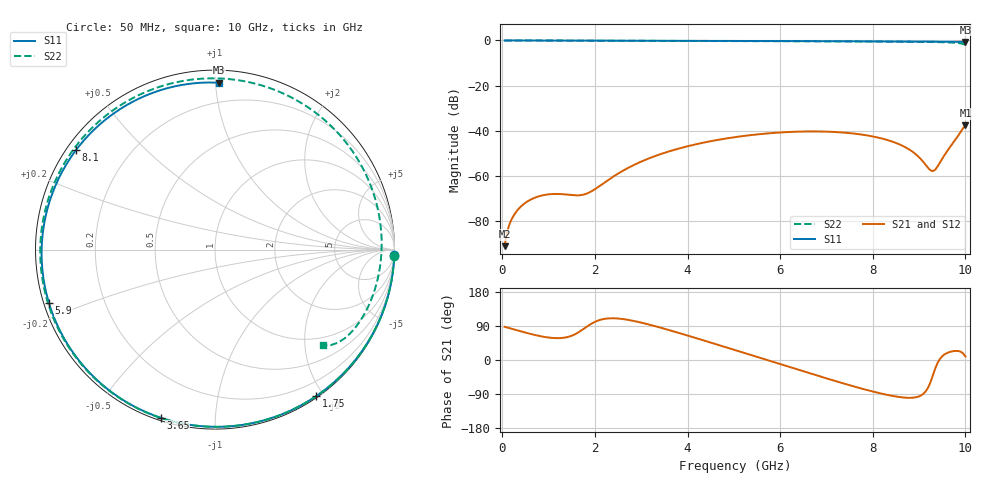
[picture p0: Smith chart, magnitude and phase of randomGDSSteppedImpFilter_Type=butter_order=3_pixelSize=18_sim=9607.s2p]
! freq	dB(S11)	phase(S11)	dB(S12)	phase(S12)
!  dB(S21)	phase(S21)	dB(S22)	phase(S22)
!S-par simulation data
#  GHz  S  DB  R 50
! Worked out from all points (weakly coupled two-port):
!   200 points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, 50 MHz to 10 GHz, reference 50 ohm
!   highest |S21| = -37.55 dB at 10 GHz (marker M1); lowest = -91.2 dB at 50 MHz (marker M2)
!   lowest |S11| = -0.6 dB at 10 GHz (marker M3), VSWR 27.66, Z = 3.7 + j51.1 ohm
!   |S11| at or under -10 dB: nowhere
!   |S22| runs from -1.9 to 0.0 dB; largest |S21 - S12| = 0
!   S11 on the Smith chart (normalised r, x): 50 MHz: 1, -69; 1.75 GHz: 0.02, -1.91; 3.65 GHz: 0.01, -0.73; 5.9 GHz: 0.01, -0.16; 8.1 GHz: 0.03, +0.32; 10 GHz: 0.07, +1.02
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0.05  -0.00 -1.7  -91.17 87.6  -91.17 87.6  -0.00 -2.2
0.2  -0.01 -6.5  -79.31 82.5  -79.31 82.5  -0.01 -8.6
0.4  -0.01 -13.0  -73.63 75.6  -73.63 75.6  -0.02 -17.1
0.75  -0.03 -24.3  -69.34 64.7  -69.34 64.7  -0.04 -31.8
1.25  -0.05 -40.0  -68.06 57.8  -68.06 57.8  -0.06 -52.3
1.75  -0.07 -55.3  -68.34 81.5  -68.34 81.5  -0.09 -72.1
1.95  -0.08 -61.2  -66.57 97.5  -66.57 97.5  -0.10 -79.8
2.55  -0.10 -78.5  -58.39 108.9  -58.39 108.9  -0.12 -102.1
3.4  -0.12 -101.5  -50.50 85.9  -50.50 85.9  -0.16 -132.1
3.65  -0.13 -107.9  -48.86 77.3  -48.86 77.3  -0.17 -140.7
4.35  -0.16 -125.4  -45.26 51.6  -45.26 51.6  -0.20 -164.6
5.05  -0.20 -142.2  -42.78 25.3  -42.78 25.3  -0.25 171.1
5.9  -0.25 -162.2  -40.93 -7.0  -40.93 -7.0  -0.31 140.3
6.7  -0.30 179.0  -40.32 -37.3  -40.32 -37.3  -0.37 108.8
7.4  -0.36 162.1  -40.88 -63.0  -40.88 -63.0  -0.43 79.0
8.1  -0.42 144.4  -42.98 -86.2  -42.98 -86.2  -0.49 47.6
8.35  -0.45 137.7  -44.34 -93.0  -44.34 -93.0  -0.52 36.1
8.85  -0.50 123.9  -49.18 -99.6  -49.18 -99.6  -0.59 12.9
9.3  -0.54 110.8  -57.89 -39.6  -57.89 -39.6  -0.70 -7.9
9.4  -0.55 107.7  -55.82 -7.5  -55.82 -7.5  -0.73 -12.5
9.7  -0.59 98.4  -46.34 22.4  -46.34 22.4  -0.92 -26.9
10  -0.63 88.7  -37.55 9.2  -37.55 9.2  -1.92 -41.5
